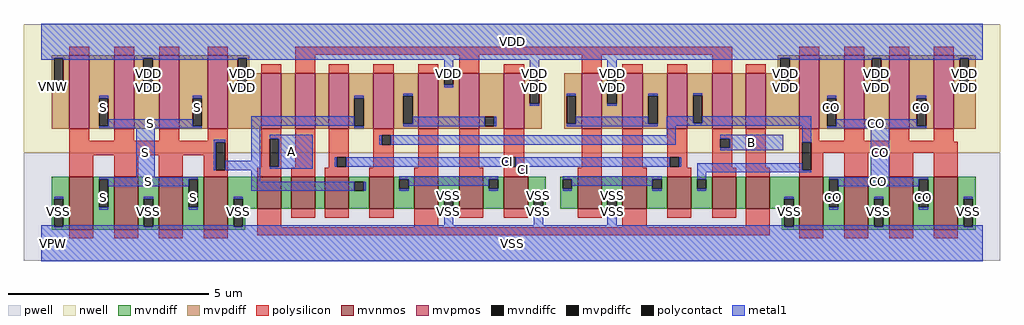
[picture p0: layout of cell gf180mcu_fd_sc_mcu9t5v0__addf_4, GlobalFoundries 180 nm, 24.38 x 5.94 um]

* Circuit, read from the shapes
.subckt gf180mcu_fd_sc_mcu9t5v0__addf_4 A B CI CO S VDD VNW VPW VSS
XM1 S n1 VSS VPW nfet_06v0 w=1.32u l=0.6u m=4
XM2 n2 A VSS VPW nfet_06v0 w=0.8u l=0.6u
XM3 n3 B n2 VPW nfet_06v0 w=0.8u l=0.6u
XM4 n1 CI n3 VPW nfet_06v0 w=0.8u l=0.6u
XM5 n4 n5 n1 VPW nfet_06v0 w=0.8u l=0.6u
XM6 VSS A n4 VPW nfet_06v0 w=0.8u l=0.6u
XM7 n4 B VSS VPW nfet_06v0 w=0.8u l=0.6u
XM8 VSS CI n4 VPW nfet_06v0 w=0.8u l=0.6u
XM9 VSS B n6 VPW nfet_06v0 w=0.8u l=0.6u
XM10 n6 A VSS VPW nfet_06v0 w=0.8u l=0.6u
XM11 n5 CI n6 VPW nfet_06v0 w=0.8u l=0.6u
XM12 n7 B n5 VPW nfet_06v0 w=0.8u l=0.6u
XM13 VSS A n7 VPW nfet_06v0 w=0.8u l=0.6u
XM14 CO n5 VSS VPW nfet_06v0 w=1.32u l=0.6u m=4
XM15 S n1 VDD VNW pfet_06v0 w=1.83u l=0.5u m=4
XM16 n8 A VDD VNW pfet_06v0 w=1.39u l=0.5u
XM17 n9 B n8 VNW pfet_06v0 w=1.39u l=0.5u
XM18 n1 CI n9 VNW pfet_06v0 w=1.39u l=0.5u
XM19 n10 n5 n1 VNW pfet_06v0 w=1.39u l=0.5u
XM20 VDD A n10 VNW pfet_06v0 w=1.39u l=0.5u
XM21 n10 B VDD VNW pfet_06v0 w=1.39u l=0.5u
XM22 VDD CI n10 VNW pfet_06v0 w=1.39u l=0.5u
XM23 VDD B n11 VNW pfet_06v0 w=1.39u l=0.5u
XM24 n11 A VDD VNW pfet_06v0 w=1.39u l=0.5u
XM25 n5 CI n11 VNW pfet_06v0 w=1.39u l=0.5u
XM26 n12 B n5 VNW pfet_06v0 w=1.39u l=0.5u
XM27 VDD A n12 VNW pfet_06v0 w=1.39u l=0.5u
XM28 CO n5 VDD VNW pfet_06v0 w=1.83u l=0.5u m=4
.ends

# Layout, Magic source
magic
tech gf180mcuD
magscale 1 10
<< nwell >>
rect -86 453 4790 1094
<< pwell >>
rect -86 -86 4790 453
<< mvnmos >>
rect 140 69 260 333
rect 364 69 484 333
rect 588 69 708 333
rect 812 69 932 333
rect 1080 173 1200 333
rect 1248 173 1368 333
rect 1416 173 1536 333
rect 1640 173 1760 333
rect 1864 173 1984 333
rect 2088 173 2208 333
rect 2312 173 2432 333
rect 2680 173 2800 333
rect 2904 173 3024 333
rect 3128 173 3248 333
rect 3352 173 3472 333
rect 3520 173 3640 333
rect 3788 69 3908 333
rect 4012 69 4132 333
rect 4236 69 4356 333
rect 4460 69 4580 333
<< mvpmos >>
rect 140 573 240 939
rect 364 573 464 939
rect 589 573 689 939
rect 832 573 932 939
rect 1100 573 1200 851
rect 1268 573 1368 851
rect 1436 573 1536 851
rect 1660 573 1760 851
rect 1884 573 1984 851
rect 2088 573 2188 851
rect 2312 573 2412 851
rect 2700 573 2800 851
rect 2904 573 3004 851
rect 3128 573 3228 851
rect 3352 573 3452 851
rect 3520 573 3620 851
rect 3788 573 3888 939
rect 4012 573 4112 939
rect 4236 573 4336 939
rect 4460 573 4560 939
<< mvndiff >>
rect 52 222 140 333
rect 52 82 65 222
rect 111 82 140 222
rect 52 69 140 82
rect 260 320 364 333
rect 260 180 289 320
rect 335 180 364 320
rect 260 69 364 180
rect 484 222 588 333
rect 484 82 513 222
rect 559 82 588 222
rect 484 69 588 82
rect 708 320 812 333
rect 708 180 737 320
rect 783 180 812 320
rect 708 69 812 180
rect 932 222 1080 333
rect 932 82 961 222
rect 1007 173 1080 222
rect 1200 173 1248 333
rect 1368 173 1416 333
rect 1536 309 1640 333
rect 1536 263 1565 309
rect 1611 263 1640 309
rect 1536 173 1640 263
rect 1760 320 1864 333
rect 1760 274 1789 320
rect 1835 274 1864 320
rect 1760 173 1864 274
rect 1984 232 2088 333
rect 1984 186 2013 232
rect 2059 186 2088 232
rect 1984 173 2088 186
rect 2208 320 2312 333
rect 2208 274 2237 320
rect 2283 274 2312 320
rect 2208 173 2312 274
rect 2432 232 2520 333
rect 2432 186 2461 232
rect 2507 186 2520 232
rect 2432 173 2520 186
rect 2592 320 2680 333
rect 2592 274 2605 320
rect 2651 274 2680 320
rect 2592 173 2680 274
rect 2800 232 2904 333
rect 2800 186 2829 232
rect 2875 186 2904 232
rect 2800 173 2904 186
rect 3024 320 3128 333
rect 3024 274 3053 320
rect 3099 274 3128 320
rect 3024 173 3128 274
rect 3248 320 3352 333
rect 3248 274 3277 320
rect 3323 274 3352 320
rect 3248 173 3352 274
rect 3472 173 3520 333
rect 3640 222 3788 333
rect 3640 173 3713 222
rect 1007 82 1020 173
rect 932 69 1020 82
rect 3700 82 3713 173
rect 3759 82 3788 222
rect 3700 69 3788 82
rect 3908 320 4012 333
rect 3908 180 3937 320
rect 3983 180 4012 320
rect 3908 69 4012 180
rect 4132 222 4236 333
rect 4132 82 4161 222
rect 4207 82 4236 222
rect 4132 69 4236 82
rect 4356 320 4460 333
rect 4356 180 4385 320
rect 4431 180 4460 320
rect 4356 69 4460 180
rect 4580 222 4668 333
rect 4580 82 4609 222
rect 4655 82 4668 222
rect 4580 69 4668 82
<< mvpdiff >>
rect 52 926 140 939
rect 52 786 65 926
rect 111 786 140 926
rect 52 573 140 786
rect 240 726 364 939
rect 240 586 289 726
rect 335 586 364 726
rect 240 573 364 586
rect 464 926 589 939
rect 464 786 511 926
rect 557 786 589 926
rect 464 573 589 786
rect 689 726 832 939
rect 689 586 757 726
rect 803 586 832 726
rect 689 573 832 586
rect 932 926 1040 939
rect 932 786 981 926
rect 1027 851 1040 926
rect 3680 926 3788 939
rect 3680 851 3693 926
rect 1027 786 1100 851
rect 932 573 1100 786
rect 1200 573 1268 851
rect 1368 573 1436 851
rect 1536 726 1660 851
rect 1536 586 1565 726
rect 1611 586 1660 726
rect 1536 573 1660 586
rect 1760 737 1884 851
rect 1760 597 1809 737
rect 1855 597 1884 737
rect 1760 573 1884 597
rect 1984 838 2088 851
rect 1984 792 2013 838
rect 2059 792 2088 838
rect 1984 573 2088 792
rect 2188 632 2312 851
rect 2188 586 2217 632
rect 2263 586 2312 632
rect 2188 573 2312 586
rect 2412 838 2500 851
rect 2412 698 2441 838
rect 2487 698 2500 838
rect 2412 573 2500 698
rect 2612 737 2700 851
rect 2612 597 2625 737
rect 2671 597 2700 737
rect 2612 573 2700 597
rect 2800 838 2904 851
rect 2800 698 2829 838
rect 2875 698 2904 838
rect 2800 573 2904 698
rect 3004 737 3128 851
rect 3004 597 3033 737
rect 3079 597 3128 737
rect 3004 573 3128 597
rect 3228 739 3352 851
rect 3228 599 3257 739
rect 3303 599 3352 739
rect 3228 573 3352 599
rect 3452 573 3520 851
rect 3620 786 3693 851
rect 3739 786 3788 926
rect 3620 573 3788 786
rect 3888 726 4012 939
rect 3888 586 3927 726
rect 3973 586 4012 726
rect 3888 573 4012 586
rect 4112 926 4236 939
rect 4112 786 4150 926
rect 4196 786 4236 926
rect 4112 573 4236 786
rect 4336 726 4460 939
rect 4336 586 4375 726
rect 4421 586 4460 726
rect 4336 573 4460 586
rect 4560 926 4668 939
rect 4560 786 4589 926
rect 4635 786 4668 926
rect 4560 573 4668 786
<< mvndiffc >>
rect 65 82 111 222
rect 289 180 335 320
rect 513 82 559 222
rect 737 180 783 320
rect 961 82 1007 222
rect 1565 263 1611 309
rect 1789 274 1835 320
rect 2013 186 2059 232
rect 2237 274 2283 320
rect 2461 186 2507 232
rect 2605 274 2651 320
rect 2829 186 2875 232
rect 3053 274 3099 320
rect 3277 274 3323 320
rect 3713 82 3759 222
rect 3937 180 3983 320
rect 4161 82 4207 222
rect 4385 180 4431 320
rect 4609 82 4655 222
<< mvpdiffc >>
rect 65 786 111 926
rect 289 586 335 726
rect 511 786 557 926
rect 757 586 803 726
rect 981 786 1027 926
rect 1565 586 1611 726
rect 1809 597 1855 737
rect 2013 792 2059 838
rect 2217 586 2263 632
rect 2441 698 2487 838
rect 2625 597 2671 737
rect 2829 698 2875 838
rect 3033 597 3079 737
rect 3257 599 3303 739
rect 3693 786 3739 926
rect 3927 586 3973 726
rect 4150 786 4196 926
rect 4375 586 4421 726
rect 4589 786 4635 926
<< polysilicon >>
rect 140 939 240 983
rect 364 939 464 983
rect 589 939 689 983
rect 832 939 932 983
rect 1268 943 3452 983
rect 1100 851 1200 895
rect 1268 851 1368 943
rect 1436 851 1536 895
rect 1660 851 1760 895
rect 1884 851 1984 895
rect 2088 851 2188 943
rect 2312 851 2412 895
rect 2700 851 2800 943
rect 2904 851 3004 895
rect 3128 851 3228 895
rect 3352 851 3452 943
rect 3788 939 3888 983
rect 4012 939 4112 983
rect 4236 939 4336 983
rect 4460 939 4560 983
rect 3520 851 3620 895
rect 140 513 240 573
rect 364 513 464 573
rect 589 513 689 573
rect 832 513 932 573
rect 140 506 932 513
rect 140 441 873 506
rect 140 333 260 441
rect 364 333 484 441
rect 588 333 708 441
rect 812 366 873 441
rect 919 366 932 506
rect 1100 523 1200 573
rect 1100 383 1141 523
rect 1187 383 1200 523
rect 1100 377 1200 383
rect 1268 377 1368 573
rect 1436 430 1536 573
rect 1436 384 1477 430
rect 1523 384 1536 430
rect 1436 377 1536 384
rect 1660 540 1760 573
rect 1660 494 1701 540
rect 1747 494 1760 540
rect 1660 377 1760 494
rect 1884 377 1984 573
rect 812 333 932 366
rect 1080 333 1200 377
rect 1248 333 1368 377
rect 1416 333 1536 377
rect 1640 333 1760 377
rect 1864 333 1984 377
rect 2088 377 2188 573
rect 2312 430 2412 573
rect 2312 384 2325 430
rect 2371 384 2412 430
rect 2312 377 2412 384
rect 2700 377 2800 573
rect 2088 333 2208 377
rect 2312 333 2432 377
rect 2680 333 2800 377
rect 2904 377 3004 573
rect 3128 430 3228 573
rect 3128 384 3141 430
rect 3187 384 3228 430
rect 3128 377 3228 384
rect 3352 523 3452 573
rect 3352 477 3393 523
rect 3439 477 3452 523
rect 3352 377 3452 477
rect 3520 377 3620 573
rect 3788 513 3888 573
rect 4012 513 4112 573
rect 4236 513 4336 573
rect 4460 513 4560 573
rect 3788 508 4560 513
rect 3788 506 4580 508
rect 2904 333 3024 377
rect 3128 333 3248 377
rect 3352 333 3472 377
rect 3520 333 3640 377
rect 3788 366 3801 506
rect 3847 454 4580 506
rect 3847 453 4132 454
rect 3847 366 3908 453
rect 3788 333 3908 366
rect 4012 333 4132 453
rect 4236 333 4356 454
rect 4460 333 4580 454
rect 1080 81 1200 173
rect 1248 129 1368 173
rect 1416 129 1536 173
rect 1640 129 1760 173
rect 1864 81 1984 173
rect 2088 129 2208 173
rect 2312 129 2432 173
rect 2680 129 2800 173
rect 2904 81 3024 173
rect 3128 129 3248 173
rect 3352 129 3472 173
rect 3520 81 3640 173
rect 140 25 260 69
rect 364 25 484 69
rect 588 25 708 69
rect 812 25 932 69
rect 1080 41 3640 81
rect 3788 25 3908 69
rect 4012 25 4132 69
rect 4236 25 4356 69
rect 4460 25 4580 69
<< polycontact >>
rect 873 366 919 506
rect 1141 383 1187 523
rect 1477 384 1523 430
rect 1701 494 1747 540
rect 2325 384 2371 430
rect 3141 384 3187 430
rect 3393 477 3439 523
rect 3801 366 3847 506
<< metal1 >>
rect 0 926 4704 1098
rect 0 918 65 926
rect 111 918 511 926
rect 65 775 111 786
rect 557 918 981 926
rect 511 775 557 786
rect 1027 918 3693 926
rect 981 775 1027 786
rect 2013 838 2059 918
rect 2013 781 2059 792
rect 2441 838 2487 918
rect 1809 737 1855 748
rect 289 726 335 737
rect 757 726 803 737
rect 335 586 757 621
rect 1565 726 1611 737
rect 289 575 803 586
rect 1049 588 1565 634
rect 476 331 568 575
rect 862 506 919 517
rect 862 366 873 506
rect 1049 412 1095 588
rect 2829 838 2875 918
rect 2441 687 2487 698
rect 2625 737 2671 748
rect 1855 597 2217 632
rect 1809 586 2217 597
rect 2263 586 2274 632
rect 3739 918 4150 926
rect 3693 775 3739 786
rect 4196 918 4589 926
rect 4150 775 4196 786
rect 4635 918 4704 926
rect 4589 775 4635 786
rect 2829 687 2875 698
rect 3033 737 3079 748
rect 2671 597 3033 632
rect 3257 739 3303 750
rect 2625 586 3079 597
rect 3125 599 3257 634
rect 3927 726 3973 737
rect 3303 599 3847 634
rect 3125 588 3847 599
rect 1565 575 1611 586
rect 919 366 1095 412
rect 1141 523 1357 542
rect 3125 540 3171 588
rect 1187 383 1357 523
rect 1690 494 1701 540
rect 1747 494 3171 540
rect 3393 523 3706 542
rect 3439 477 3706 523
rect 3393 466 3706 477
rect 3801 506 3847 588
rect 4375 726 4421 737
rect 3973 586 4375 621
rect 3927 575 4421 586
rect 1466 384 1477 430
rect 1523 384 2325 430
rect 2371 384 3141 430
rect 3187 384 3198 430
rect 1141 372 1357 383
rect 289 320 783 331
rect 65 222 111 233
rect 0 82 65 90
rect 335 285 737 320
rect 289 169 335 180
rect 513 222 559 233
rect 111 82 513 90
rect 1049 309 1095 366
rect 2382 354 2434 384
rect 3277 366 3801 401
rect 3277 355 3847 366
rect 1789 320 2283 335
rect 1049 263 1565 309
rect 1611 263 1622 309
rect 1835 289 2237 320
rect 1789 263 1835 274
rect 2237 263 2283 274
rect 2605 320 3099 335
rect 2651 289 3053 320
rect 2605 263 2651 274
rect 3053 263 3099 274
rect 3277 320 3323 355
rect 4145 331 4237 575
rect 3277 263 3323 274
rect 3937 320 4431 331
rect 737 169 783 180
rect 961 222 1007 233
rect 559 82 961 90
rect 2013 232 2059 243
rect 2013 90 2059 186
rect 2461 232 2507 243
rect 2461 90 2507 186
rect 2829 232 2875 243
rect 2829 90 2875 186
rect 3713 222 3759 233
rect 1007 82 3713 90
rect 3983 285 4385 320
rect 3937 169 3983 180
rect 4161 222 4207 233
rect 3759 82 4161 90
rect 4385 169 4431 180
rect 4609 222 4655 233
rect 4207 82 4609 90
rect 4655 82 4704 90
rect 0 -90 4704 82
<< labels >>
flabel metal1 s 1141 372 1357 542 0 FreeSans 200 0 0 0 A
port 1 nsew default input
flabel metal1 s 3393 466 3706 542 0 FreeSans 200 0 0 0 B
port 2 nsew default input
flabel metal1 s 1466 384 3198 430 0 FreeSans 200 0 0 0 CI
port 3 nsew default input
flabel metal1 s 4375 621 4421 737 0 FreeSans 200 0 0 0 CO
port 4 nsew default output
flabel metal1 s 757 621 803 737 0 FreeSans 200 0 0 0 S
port 5 nsew default output
flabel metal1 s 0 918 4704 1098 0 FreeSans 200 0 0 0 VDD
port 6 nsew power bidirectional abutment
flabel metal1 s 2829 233 2875 243 0 FreeSans 200 0 0 0 VSS
port 9 nsew ground bidirectional abutment
flabel nwell s 10 734 110 834 0 FreeSans 400 0 0 0 VNW
port 7 nsew power bidirectional
flabel pwell s 10 -50 110 50 0 FreeSans 400 0 0 0 VPW
port 8 nsew ground bidirectional
rlabel metal1 s 2382 354 2434 384 1 CI
port 3 nsew default input
rlabel metal1 s 3927 621 3973 737 1 CO
port 4 nsew default output
rlabel metal1 s 3927 575 4421 621 1 CO
port 4 nsew default output
rlabel metal1 s 4145 331 4237 575 1 CO
port 4 nsew default output
rlabel metal1 s 3937 285 4431 331 1 CO
port 4 nsew default output
rlabel metal1 s 4385 169 4431 285 1 CO
port 4 nsew default output
rlabel metal1 s 3937 169 3983 285 1 CO
port 4 nsew default output
rlabel metal1 s 289 621 335 737 1 S
port 5 nsew default output
rlabel metal1 s 289 575 803 621 1 S
port 5 nsew default output
rlabel metal1 s 476 331 568 575 1 S
port 5 nsew default output
rlabel metal1 s 289 285 783 331 1 S
port 5 nsew default output
rlabel metal1 s 737 169 783 285 1 S
port 5 nsew default output
rlabel metal1 s 289 169 335 285 1 S
port 5 nsew default output
rlabel metal1 s 4589 781 4635 918 1 VDD
port 6 nsew power bidirectional abutment
rlabel metal1 s 4150 781 4196 918 1 VDD
port 6 nsew power bidirectional abutment
rlabel metal1 s 3693 781 3739 918 1 VDD
port 6 nsew power bidirectional abutment
rlabel metal1 s 2829 781 2875 918 1 VDD
port 6 nsew power bidirectional abutment
rlabel metal1 s 2441 781 2487 918 1 VDD
port 6 nsew power bidirectional abutment
rlabel metal1 s 2013 781 2059 918 1 VDD
port 6 nsew power bidirectional abutment
rlabel metal1 s 981 781 1027 918 1 VDD
port 6 nsew power bidirectional abutment
rlabel metal1 s 511 781 557 918 1 VDD
port 6 nsew power bidirectional abutment
rlabel metal1 s 65 781 111 918 1 VDD
port 6 nsew power bidirectional abutment
rlabel metal1 s 4589 775 4635 781 1 VDD
port 6 nsew power bidirectional abutment
rlabel metal1 s 4150 775 4196 781 1 VDD
port 6 nsew power bidirectional abutment
rlabel metal1 s 3693 775 3739 781 1 VDD
port 6 nsew power bidirectional abutment
rlabel metal1 s 2829 775 2875 781 1 VDD
port 6 nsew power bidirectional abutment
rlabel metal1 s 2441 775 2487 781 1 VDD
port 6 nsew power bidirectional abutment
rlabel metal1 s 981 775 1027 781 1 VDD
port 6 nsew power bidirectional abutment
rlabel metal1 s 511 775 557 781 1 VDD
port 6 nsew power bidirectional abutment
rlabel metal1 s 65 775 111 781 1 VDD
port 6 nsew power bidirectional abutment
rlabel metal1 s 2829 687 2875 775 1 VDD
port 6 nsew power bidirectional abutment
rlabel metal1 s 2441 687 2487 775 1 VDD
port 6 nsew power bidirectional abutment
rlabel metal1 s 2461 233 2507 243 1 VSS
port 9 nsew ground bidirectional abutment
rlabel metal1 s 2013 233 2059 243 1 VSS
port 9 nsew ground bidirectional abutment
rlabel metal1 s 4609 90 4655 233 1 VSS
port 9 nsew ground bidirectional abutment
rlabel metal1 s 4161 90 4207 233 1 VSS
port 9 nsew ground bidirectional abutment
rlabel metal1 s 3713 90 3759 233 1 VSS
port 9 nsew ground bidirectional abutment
rlabel metal1 s 2829 90 2875 233 1 VSS
port 9 nsew ground bidirectional abutment
rlabel metal1 s 2461 90 2507 233 1 VSS
port 9 nsew ground bidirectional abutment
rlabel metal1 s 2013 90 2059 233 1 VSS
port 9 nsew ground bidirectional abutment
rlabel metal1 s 961 90 1007 233 1 VSS
port 9 nsew ground bidirectional abutment
rlabel metal1 s 513 90 559 233 1 VSS
port 9 nsew ground bidirectional abutment
rlabel metal1 s 65 90 111 233 1 VSS
port 9 nsew ground bidirectional abutment
rlabel metal1 s 0 -90 4704 90 1 VSS
port 9 nsew ground bidirectional abutment
<< properties >>
string FIXED_BBOX 0 0 4704 1008
string GDS_END 1103646
string GDS_FILE $PDKPATH/libs.ref/gf180mcu_fd_sc_mcu9t5v0/gds/gf180mcu_fd_sc_mcu9t5v0.gds
string GDS_START 1093790
string LEFclass core
string LEFsite GF018hv5v_green_sc9
string LEFsymmetry X Y
<< end >>
